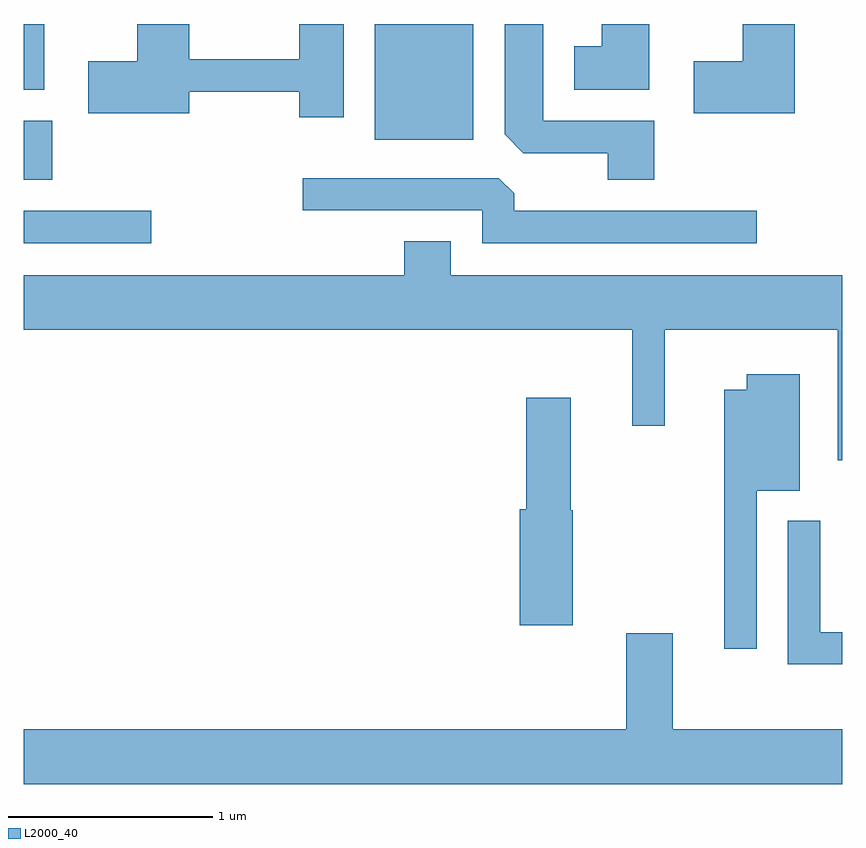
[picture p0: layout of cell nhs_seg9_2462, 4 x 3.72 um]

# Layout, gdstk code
import gdstk
lib = gdstk.Library(unit=1e-6, precision=1e-09)
def R(c, l, rs):  # rectangles x0, y0, x1, y1
    for r in rs: c.add(gdstk.rectangle(r[:2], r[2:], *l))
def P(c, l, *ps):  # polygons
    for p in ps: c.add(gdstk.Polygon(p, *l))
L2000_40 = (2000, 40)

nhs_seg9_2462 = lib.new_cell('nhs_seg9_2462')
R(nhs_seg9_2462, L2000_40, [(257.611,1983.361,258.233,1983.519), (257.611,1983.671,257.749,1983.959), (259.326,1983.866,259.809,1984.432), (257.611,1984.111,257.709,1984.432)])
P(nhs_seg9_2462, L2000_40, [(260.669,1984.432),(260.436,1984.432),(260.436,1984.324),(260.301,1984.324),(260.301,1984.111),(260.669,1984.111)],
  [(259.174,1984.432),(258.956,1984.432),(258.956,1984.259),(258.419,1984.259),(258.419,1984.432),(258.166,1984.432),(258.166,1984.249),(257.926,1984.249),(257.926,1983.996),(258.419,1983.996),(258.419,1984.101),(258.956,1984.101),(258.956,1983.976),(259.174,1983.976)],
  [(260.694,1983.959),(260.149,1983.959),(260.149,1984.432),(259.961,1984.432),(259.961,1983.892),(260.052,1983.801),(260.466,1983.801),(260.466,1983.671),(260.694,1983.671)],
  [(261.379,1984.432),(261.126,1984.432),(261.126,1984.249),(260.886,1984.249),(260.886,1983.996),(261.379,1983.996)],
  [(261.193,1983.519),(260.009,1983.519),(260.009,1983.604),(259.933,1983.679),(258.973,1983.679),(258.973,1983.521),(259.851,1983.521),(259.851,1983.361),(261.193,1983.361)],
  [(261.611,1983.204),(259.699,1983.204),(259.699,1983.369),(259.471,1983.369),(259.471,1983.204),(257.611,1983.204),(257.611,1982.936),(260.586,1982.936),(260.586,1982.468),(260.744,1982.468),(260.744,1982.936),(261.591,1982.936),(261.591,1982.298),(261.611,1982.298)],
  [(261.194,1982.151),(261.404,1982.151),(261.404,1982.719),(261.146,1982.719),(261.146,1982.644),(261.036,1982.644),(261.036,1981.378),(261.194,1981.378)],
  [(260.294,1982.055),(260.284,1982.055),(260.284,1982.604),(260.066,1982.604),(260.066,1982.059),(260.036,1982.059),(260.036,1981.491),(260.294,1981.491)],
  [(261.611,1981.459),(261.504,1981.459),(261.504,1982.003),(261.346,1982.003),(261.346,1981.301),(261.611,1981.301)],
  [(261.611,1980.984),(260.784,1980.984),(260.784,1981.454),(260.556,1981.454),(260.556,1980.984),(257.611,1980.984),(257.611,1980.716),(261.611,1980.716)])

lib.write_gds('nhs_seg9_2462.gds')
